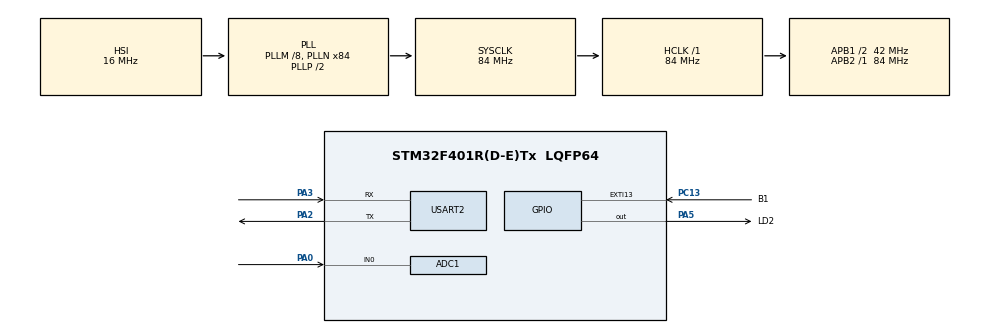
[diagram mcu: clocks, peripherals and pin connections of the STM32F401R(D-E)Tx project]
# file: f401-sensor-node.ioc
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ADC1.Channel-0\#ChannelRegularConversion=ADC_CHANNEL_0
ADC1.NbrOfConversionFlag=1
ADC1.Rank-0\#ChannelRegularConversion=1
ADC1.SamplingTime-0\#ChannelRegularConversion=ADC_SAMPLETIME_3CYCLES
ADC1.master=1
IWDG.Prescaler=IWDG_PRESCALER_64
IWDG.Reload=2000
Mcu.Family=STM32F4
Mcu.Name=STM32F401R(D-E)Tx
Mcu.Package=LQFP64
NVIC.EXTI15_10_IRQn=true\:0\:0\:false\:false\:true\:true\:true\:true
NVIC.PriorityGroup=NVIC_PRIORITYGROUP_4
NVIC.USART2_IRQn=true\:0\:0\:false\:false\:true\:true\:true\:true
PA0-WKUP.Signal=ADCx_IN0
PA2.Mode=Asynchronous
PA2.Signal=USART2_TX
PA3.Mode=Asynchronous
PA3.Signal=USART2_RX
PA5.GPIO_Label=LD2
PA5.Signal=GPIO_Output
PC13-ANTI_TAMP.GPIO_Label=B1
PC13-ANTI_TAMP.GPIO_ModeDefaultEXTI=GPIO_MODE_IT_FALLING
PC13-ANTI_TAMP.GPIO_PuPd=GPIO_PULLUP
PC13-ANTI_TAMP.Signal=GPXTI13
ProjectManager.HeapSize=0x200
ProjectManager.StackSize=0x400
ProjectManager.TargetToolchain=Makefile
RCC.48MHZClocksFreq_Value=42000000
RCC.AHBFreq_Value=84000000
RCC.APB1CLKDivider=RCC_HCLK_DIV2
RCC.APB1Freq_Value=42000000
RCC.APB1TimFreq_Value=84000000
RCC.APB2Freq_Value=84000000
RCC.APB2TimFreq_Value=84000000
RCC.CortexFreq_Value=84000000
RCC.HCLKFreq_Value=84000000
RCC.HSE_VALUE=25000000
RCC.HSI_VALUE=16000000
RCC.LSE_VALUE=32768
RCC.PLLM=8
RCC.PLLN=84
RCC.SYSCLKFreq_VALUE=84000000
RCC.SYSCLKSource=RCC_SYSCLKSOURCE_PLLCLK
RCC.VCOOutputFreq_Value=168000000
SH.ADCx_IN0.0=ADC1_IN0,IN0
USART2.VirtualMode=VM_ASYNC
VP_IWDG_VS_IWDG.Mode=IWDG_Activate
board=NUCLEO-F401RE

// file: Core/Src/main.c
/* USER CODE BEGIN Header */
/**
  ******************************************************************************
  * @file           : main.c
  * @brief          : Main program body
  ******************************************************************************
  * @attention
  *
  * Copyright (c) 2026 STMicroelectronics.
  * All rights reserved.
  *
  * This software is licensed under terms that can be found in the LICENSE file
  * in the root directory of this software component.
  * If no LICENSE file comes with this software, it is provided AS-IS.
  *
  ******************************************************************************
  */
/* USER CODE END Header */
#include "main.h"

/* USER CODE BEGIN Includes */
#include <stdio.h>

#include "button.h"
#include "console.h"
#include "sampler.h"
/* USER CODE END Includes */

/* USER CODE BEGIN PD */
#define FW_NAME    "sensor-node"
#define FW_VERSION "0.1.0"
/* USER CODE END PD */

ADC_HandleTypeDef hadc1;

IWDG_HandleTypeDef hiwdg;

UART_HandleTypeDef huart2;

void SystemClock_Config(void);
static void MX_GPIO_Init(void);
static void MX_ADC1_Init(void);
static void MX_IWDG_Init(void);
static void MX_USART2_UART_Init(void);

/* USER CODE BEGIN 0 */
/* printf() hands each character to this function (Core/Src/syscalls.c), which
 * sends it out of USART2: the Nucleo's ST-LINK virtual COM port. */
int __io_putchar(int ch)
{
  uint8_t c = (uint8_t)ch;
  HAL_UART_Transmit(&huart2, &c, 1, HAL_MAX_DELAY);
  return ch;
}

/* HAL calls this from the USART2 interrupt once the byte asked for arrived. */
void HAL_UART_RxCpltCallback(UART_HandleTypeDef *huart)
{
  console_rx_complete(huart);
}

/* Why we booted: the watchdog, or anything else (power, NRST, software). */
static const char *reset_cause(void)
{
  const char *cause = "power-on or reset pin";
  if (__HAL_RCC_GET_FLAG(RCC_FLAG_IWDGRST)) {
    cause = "watchdog";
  } else if (__HAL_RCC_GET_FLAG(RCC_FLAG_SFTRST)) {
    cause = "software";
  }
  __HAL_RCC_CLEAR_RESET_FLAGS();
  return cause;
}
/* USER CODE END 0 */

int main(void)
{

  /* MCU Configuration--------------------------------------------------------*/

  /* Reset of all peripherals, Initializes the Flash interface and the Systick. */
  HAL_Init();

  /* Configure the system clock */
  SystemClock_Config();

  /* Initialize all configured peripherals */
  MX_GPIO_Init();
  MX_ADC1_Init();
  MX_IWDG_Init();
  MX_USART2_UART_Init();
  /* USER CODE BEGIN 2 */
  printf("\r\n%s %s (reset: %s)\r\n", FW_NAME, FW_VERSION, reset_cause());
  console_init(&huart2);
  sampler_init(&hadc1);
  button_init();
  printf("ready; type help\r\n");
/* USER CODE END 2 */

  /* Infinite loop */
  while (1)
  {

    /* USER CODE BEGIN 3 */
    console_poll();
    sampler_poll(HAL_GetTick());
    button_poll();
    /* Every pass refreshes the watchdog: a stuck loop reboots in ~4 s. */
    HAL_IWDG_Refresh(&hiwdg);
  }
/* USER CODE END 3 */
}

void SystemClock_Config(void)
{
  RCC_OscInitTypeDef RCC_OscInitStruct = {0};
  RCC_ClkInitTypeDef RCC_ClkInitStruct = {0};

  /** Configure the main internal regulator output voltage
  */
  __HAL_RCC_PWR_CLK_ENABLE();
  __HAL_PWR_VOLTAGESCALING_CONFIG(PWR_REGULATOR_VOLTAGE_SCALE2);

  /** Initializes the RCC Oscillators according to the specified parameters
  * in the RCC_OscInitTypeDef structure.
  */
  RCC_OscInitStruct.OscillatorType = RCC_OSCILLATORTYPE_HSI|RCC_OSCILLATORTYPE_LSI;
  RCC_OscInitStruct.HSIState = RCC_HSI_ON;
  RCC_OscInitStruct.HSICalibrationValue = RCC_HSICALIBRATION_DEFAULT;
  RCC_OscInitStruct.LSIState = RCC_LSI_ON;
  RCC_OscInitStruct.PLL.PLLState = RCC_PLL_ON;
  RCC_OscInitStruct.PLL.PLLSource = RCC_PLLSOURCE_HSI;
  RCC_OscInitStruct.PLL.PLLM = 8;
  RCC_OscInitStruct.PLL.PLLN = 84;
  RCC_OscInitStruct.PLL.PLLP = RCC_PLLP_DIV2;
  RCC_OscInitStruct.PLL.PLLQ = 4;
  if (HAL_RCC_OscConfig(&RCC_OscInitStruct) != HAL_OK)
  {
    Error_Handler();
  }

  /** Initializes the CPU, AHB and APB buses clocks
  */
  RCC_ClkInitStruct.ClockType = RCC_CLOCKTYPE_HCLK|RCC_CLOCKTYPE_SYSCLK
                              |RCC_CLOCKTYPE_PCLK1|RCC_CLOCKTYPE_PCLK2;
  RCC_ClkInitStruct.SYSCLKSource = RCC_SYSCLKSOURCE_PLLCLK;
  RCC_ClkInitStruct.AHBCLKDivider = RCC_SYSCLK_DIV1;
  RCC_ClkInitStruct.APB1CLKDivider = RCC_HCLK_DIV2;
  RCC_ClkInitStruct.APB2CLKDivider = RCC_HCLK_DIV1;

  if (HAL_RCC_ClockConfig(&RCC_ClkInitStruct, FLASH_LATENCY_2) != HAL_OK)
  {
    Error_Handler();
  }
}

static void MX_ADC1_Init(void)
{

  ADC_ChannelConfTypeDef sConfig = {0};

  /** Configure the global features of the ADC (Clock, Resolution, Data Alignment and number of conversion)
  */
  hadc1.Instance = ADC1;
  hadc1.Init.ClockPrescaler = ADC_CLOCK_SYNC_PCLK_DIV4;
  hadc1.Init.Resolution = ADC_RESOLUTION_12B;
  hadc1.Init.ScanConvMode = DISABLE;
  hadc1.Init.ContinuousConvMode = DISABLE;
  hadc1.Init.DiscontinuousConvMode = DISABLE;
  hadc1.Init.ExternalTrigConvEdge = ADC_EXTERNALTRIGCONVEDGE_NONE;
  hadc1.Init.ExternalTrigConv = ADC_SOFTWARE_START;
  hadc1.Init.DataAlign = ADC_DATAALIGN_RIGHT;
  hadc1.Init.NbrOfConversion = 1;
  hadc1.Init.DMAContinuousRequests = DISABLE;
  hadc1.Init.EOCSelection = ADC_EOC_SINGLE_CONV;
  if (HAL_ADC_Init(&hadc1) != HAL_OK)
  {
    Error_Handler();
  }

  /** Configure for the selected ADC regular channel its corresponding rank in the sequencer and its sample time.
  */
  sConfig.Channel = ADC_CHANNEL_0;
  sConfig.Rank = 1;
  sConfig.SamplingTime = ADC_SAMPLETIME_3CYCLES;
  if (HAL_ADC_ConfigChannel(&hadc1, &sConfig) != HAL_OK)
  {
    Error_Handler();
  }

}

static void MX_IWDG_Init(void)
{

  hiwdg.Instance = IWDG;
  hiwdg.Init.Prescaler = IWDG_PRESCALER_64;
  hiwdg.Init.Reload = 2000;
  if (HAL_IWDG_Init(&hiwdg) != HAL_OK)
  {
    Error_Handler();
  }

}

static void MX_USART2_UART_Init(void)
{

  huart2.Instance = USART2;
  huart2.Init.BaudRate = 115200;
  huart2.Init.WordLength = UART_WORDLENGTH_8B;
  huart2.Init.StopBits = UART_STOPBITS_1;
  huart2.Init.Parity = UART_PARITY_NONE;
  huart2.Init.Mode = UART_MODE_TX_RX;
  huart2.Init.HwFlowCtl = UART_HWCONTROL_NONE;
  huart2.Init.OverSampling = UART_OVERSAMPLING_16;
  if (HAL_UART_Init(&huart2) != HAL_OK)
  {
    Error_Handler();
  }

}

static void MX_GPIO_Init(void)
{
  GPIO_InitTypeDef GPIO_InitStruct = {0};

  /* GPIO Ports Clock Enable */
  __HAL_RCC_GPIOC_CLK_ENABLE();
  __HAL_RCC_GPIOA_CLK_ENABLE();

  /*Configure GPIO pin Output Level */
  HAL_GPIO_WritePin(LD2_GPIO_Port, LD2_Pin, GPIO_PIN_RESET);

  /*Configure GPIO pin : B1_Pin */
  GPIO_InitStruct.Pin = B1_Pin;
  GPIO_InitStruct.Mode = GPIO_MODE_IT_FALLING;
  GPIO_InitStruct.Pull = GPIO_PULLUP;
  HAL_GPIO_Init(B1_GPIO_Port, &GPIO_InitStruct);

  /*Configure GPIO pin : LD2_Pin */
  GPIO_InitStruct.Pin = LD2_Pin;
  GPIO_InitStruct.Mode = GPIO_MODE_OUTPUT_PP;
  GPIO_InitStruct.Pull = GPIO_NOPULL;
  GPIO_InitStruct.Speed = GPIO_SPEED_FREQ_LOW;
  HAL_GPIO_Init(LD2_GPIO_Port, &GPIO_InitStruct);

  /* EXTI interrupt init*/
  HAL_NVIC_SetPriority(EXTI15_10_IRQn, 0, 0);
  HAL_NVIC_EnableIRQ(EXTI15_10_IRQn);

}

void Error_Handler(void)
{
  __disable_irq();
  while (1)
  {
  }
}
